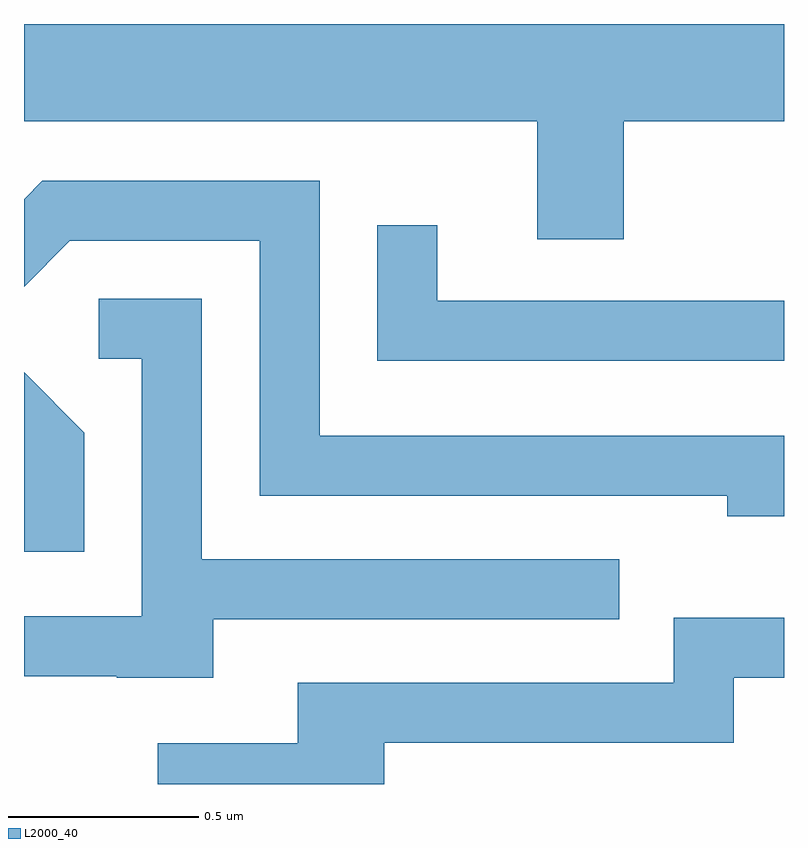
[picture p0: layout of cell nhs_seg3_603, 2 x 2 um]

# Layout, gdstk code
import gdstk
lib = gdstk.Library(unit=1e-6, precision=1e-09)
def P(c, l, *ps):  # polygons
    for p in ps: c.add(gdstk.Polygon(p, *l))
L2000_40 = (2000, 40)

nhs_seg3_603 = lib.new_cell('nhs_seg3_603')
P(nhs_seg3_603, L2000_40, [(191.189,1172.636),(191.611,1172.636),(191.611,1172.892),(189.611,1172.892),(189.611,1172.636),(190.961,1172.636),(190.961,1172.326),(191.189,1172.326)],
  [(191.611,1171.809),(190.389,1171.809),(190.389,1172.479),(189.659,1172.479),(189.611,1172.431),(189.611,1172.2),(189.732,1172.321),(190.231,1172.321),(190.231,1171.651),(191.461,1171.651),(191.461,1171.596),(191.611,1171.596)],
  [(191.611,1172.164),(190.699,1172.164),(190.699,1172.363),(190.541,1172.363),(190.541,1172.006),(191.611,1172.006)],
  [(190.109,1171.326),(191.178,1171.326),(191.178,1171.484),(190.079,1171.484),(190.079,1172.169),(189.808,1172.169),(189.808,1172.011),(189.921,1172.011),(189.921,1171.334),(189.611,1171.334),(189.611,1171.176),(189.855,1171.176),(189.855,1171.171),(190.109,1171.171)],
  [(189.769,1171.817),(189.611,1171.975),(189.611,1171.503),(189.769,1171.503)],
  [(190.559,1171.001),(191.479,1171.001),(191.479,1171.171),(191.611,1171.171),(191.611,1171.329),(191.321,1171.329),(191.321,1171.159),(190.331,1171.159),(190.331,1170.999),(189.963,1170.999),(189.963,1170.892),(190.559,1170.892)])

lib.write_gds('nhs_seg3_603.gds')
